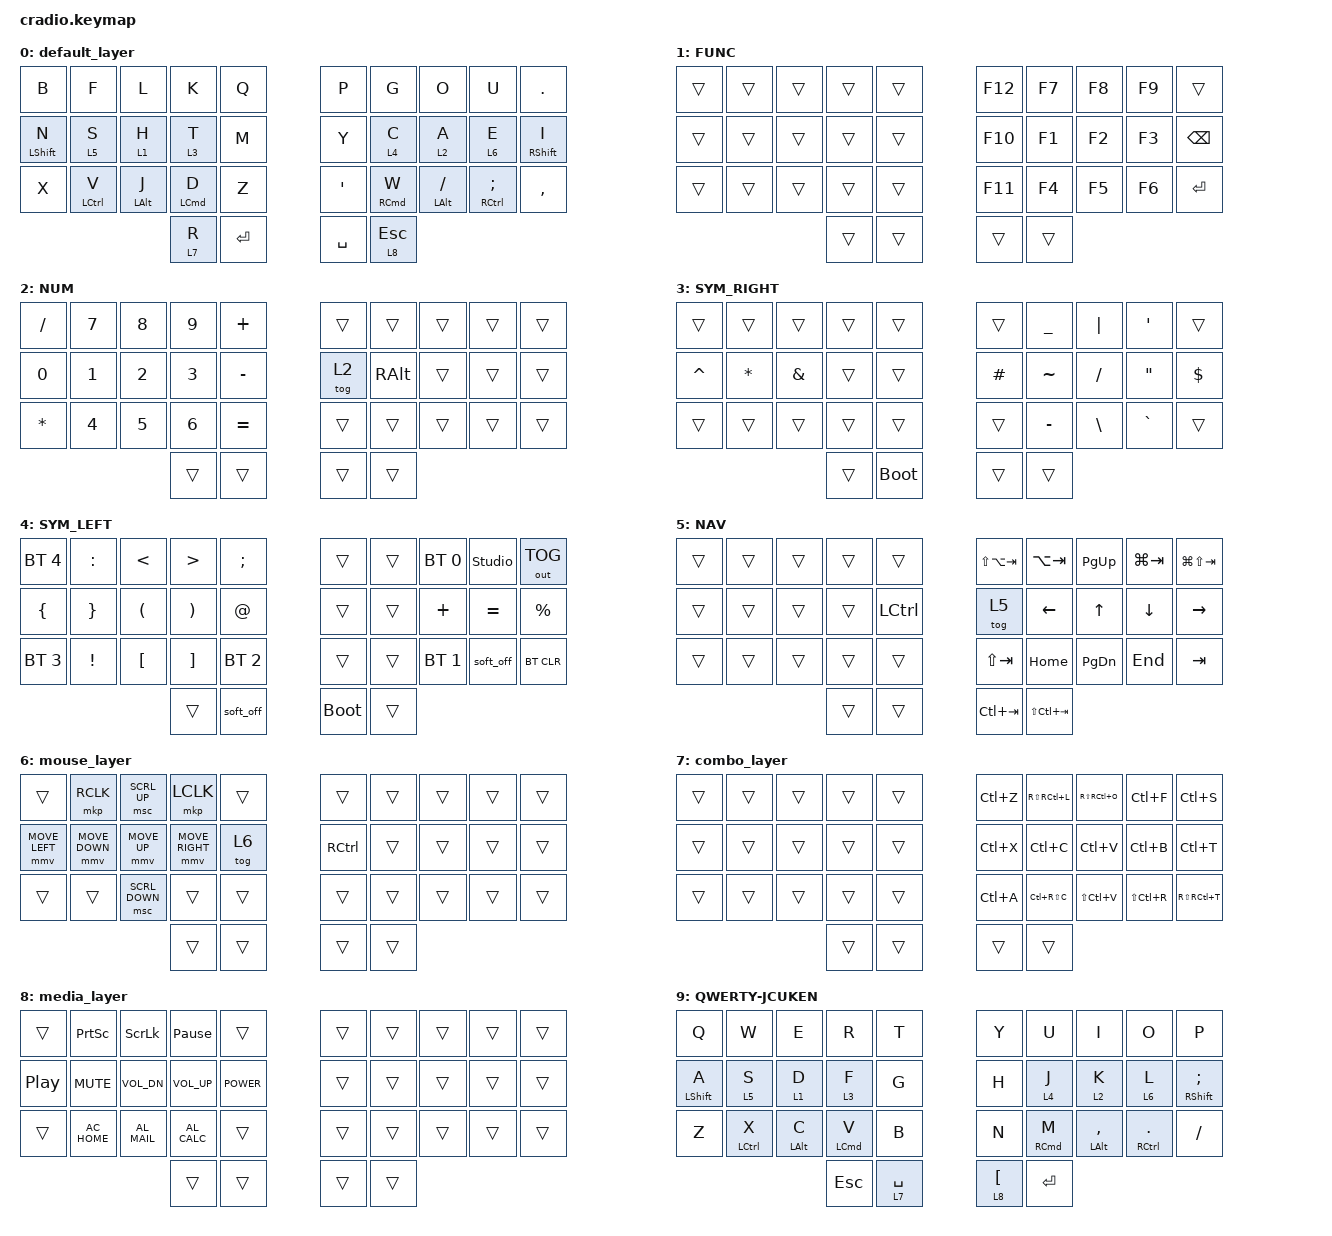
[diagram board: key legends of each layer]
// Copyright (c) 2022 The ZMK Contributors
// SPDX-License-Identifier: MIT

#define ZMK_POINTING_DEFAULT_MOVE_VAL 2500  // 600
#define ZMK_POINTING_DEFAULT_SCRL_VAL 20    // 10

#include <behaviors.dtsi>
#include <dt-bindings/zmk/bt.h>
#include <dt-bindings/zmk/keys.h>
#include <dt-bindings/zmk/outputs.h>
#include <dt-bindings/zmk/pointing.h>

#define MAC 0
#define WIN 1
#define RIG 2
#define LEF 3
#define TRI 4
#define MOUSE 5

// https://zmk.dev/docs/development/hardware-integration/soft-off-setup?advanced-methods=wakeup&kscan-type=dkscan

/ {
    keys {
        compatible = "gpio-keys";

        soft_off_gpio_key: soft_off_gpio_key { gpios = <&gpio1 6 (GPIO_ACTIVE_LOW | GPIO_PULL_UP)>; };
    };

    wakeup_scan: wakeup_scan {
        compatible = "zmk,kscan-gpio-direct";
        input-keys = <&soft_off_gpio_key>;
        wakeup-source;
    };

    side_band_behavior_triggers: side_band_behavior_triggers {
        compatible = "zmk,kscan-sideband-behaviors";
        kscan = <&wakeup_scan>;
        auto-enable;
        wakeup-source;
    };

    soft_off_wakers {
        compatible = "zmk,soft-off-wakeup-sources";
        wakeup-sources = <&wakeup_scan>;
    };
};

/ {
    behaviors {
        ht: hold_tap {
            label = "hold_tap";
            compatible = "zmk,behavior-hold-tap";
            #binding-cells = <2>;
            flavor = "balanced";
            tapping-term-ms = <800>;
            quick-tap-ms = <150>;
            global-quick-tap;
            bindings = <&kp>, <&kp>;
        };

        mmv {
            acceleration-exponent = <1>;      // 1
            time-to-max-speed-ms = <300>;    // 40
            delay-ms = <0>;                   // 0
        };

        msc {
            acceleration-exponent = <0>;      // 0
            time-to-max-speed-ms = <40>;      // 500
            delay-ms = <0>;                   // 10
        };
    };

    conditional_layers { compatible = "zmk,conditional-layers"; };

    combos {
        compatible = "zmk,combos";

        tab {
            bindings = <&kp TAB>;
            key-positions = <12 11 10>;
        };

        delete {
            bindings = <&kp DELETE>;
            key-positions = <1 2>;
        };

        backspace {
            bindings = <&kp BACKSPACE>;
            key-positions = <7 8>;
        };

        caps_word {
            bindings = <&caps_word>;
            key-positions = <20 21 22>;
        };

        f1-combo {
            bindings = <&kp F1>;
            key-positions = <11 13 12>;
        };

        f2-combo {
            bindings = <&kp F2>;
            key-positions = <1 2 3>;
        };

        f3-combo {
            bindings = <&kp F3>;
            key-positions = <22 21 23>;
        };

        f13-combo {
            bindings = <&kp F13>;
            key-positions = <16 17 18>;
        };

        f14-combo {
            bindings = <&kp F14>;
            key-positions = <6 7 8>;
        };

        f15-combo {
            bindings = <&kp F15>;
            key-positions = <26 27 28>;
        };

        printscreen {
            bindings = <&kp PRINTSCREEN>;
            key-positions = <30 33>;
        };

        jcuken {
            bindings = <&tog 9>;
            key-positions = <31 32>;
        };
    };

    keymap {
        compatible = "zmk,keymap";

        default_layer {
            bindings = <
&kp B             &kp F               &kp L           &kp K               &kp Q        &kp P             &kp G         &kp O               &kp U                        &kp PERIOD
&mt LEFT_SHIFT N  &lt 5 S             &lt 1 H         &lt 3 T             &kp M        &kp Y             &lt 4 C       &lt 2 A             &lt 6 E                      &mt RIGHT_SHIFT I
&kp X             &mt LEFT_CONTROL V  &mt LEFT_ALT J  &mt LEFT_COMMAND D  &kp Z        &kp SINGLE_QUOTE  &mt RCMD W    &mt LEFT_ALT SLASH  &mt RIGHT_CONTROL SEMICOLON  &kp COMMA
                                                      &lt 7 R             &kp ENTER    &kp SPACE         &lt 8 ESCAPE
            >;
        };

        func_layer {
            display-name = "FUNC";
            bindings = <
&trans  &trans  &trans  &trans  &trans    &kp F12  &kp F7  &kp F8  &kp F9  &trans
&trans  &trans  &trans  &trans  &trans    &kp F10  &kp F1  &kp F2  &kp F3  &kp BSPC
&trans  &trans  &trans  &trans  &trans    &kp F11  &kp F4  &kp F5  &kp F6  &kp ENTER
                        &trans  &trans    &trans   &trans
            >;
        };

        num_layer {
            display-name = "NUM";
            bindings = <
&kp SLASH     &kp N7        &kp N8        &kp N9        &kp PLUS     &trans  &trans         &trans  &trans  &trans
&kp N0        &kp NUMBER_1  &kp NUMBER_2  &kp NUMBER_3  &kp MINUS    &tog 2  &kp RIGHT_ALT  &trans  &trans  &trans
&kp ASTERISK  &kp NUMBER_4  &kp N5        &kp NUMBER_6  &kp EQUAL    &trans  &trans         &trans  &trans  &trans
                                          &trans        &trans       &trans  &trans
            >;
        };

        right_sym_layer {
            display-name = "SYM_RIGHT";
            bindings = <
&trans     &trans        &trans         &trans  &trans         &trans    &kp UNDERSCORE  &kp PIPE       &kp SINGLE_QUOTE   &trans
&kp CARET  &kp ASTERISK  &kp AMPERSAND  &trans  &trans         &kp HASH  &kp TILDE       &kp SLASH      &kp DOUBLE_QUOTES  &kp DOLLAR
&trans     &trans        &trans         &trans  &trans         &trans    &kp MINUS       &kp BACKSLASH  &kp GRAVE          &trans
                                        &trans  &bootloader    &trans    &trans
            >;
        };

        left_sym_layer {
            display-name = "SYM_LEFT";
            bindings = <
&bt BT_SEL 4    &kp COLON        &kp LESS_THAN         &kp GREATER_THAN       &kp SEMICOLON    &trans       &trans  &bt BT_SEL 0  &studio_unlock  &out OUT_TOG
&kp LEFT_BRACE  &kp RIGHT_BRACE  &kp LEFT_PARENTHESIS  &kp RIGHT_PARENTHESIS  &kp AT_SIGN      &trans       &trans  &kp PLUS      &kp EQUAL       &kp PERCENT
&bt BT_SEL 3    &kp EXCLAMATION  &kp LEFT_BRACKET      &kp RIGHT_BRACKET      &bt BT_SEL 2     &trans       &trans  &bt BT_SEL 1  &soft_off       &bt BT_CLR
                                                       &trans                 &soft_off        &bootloader  &trans
            >;
        };

        nav_layer {
            display-name = "NAV";
            bindings = <
&trans  &trans  &trans  &trans  &trans              &kp LS(LA(TAB))  &kp LA(TAB)      &kp PG_UP      &kp LG(TAB)  &kp LG(LS(TAB))
&trans  &trans  &trans  &trans  &kp LEFT_CONTROL    &tog 5           &kp LEFT         &kp UP         &kp DOWN     &kp RIGHT
&trans  &trans  &trans  &trans  &trans              &kp LS(TAB)      &kp HOME         &kp PAGE_DOWN  &kp END      &kp TAB
                        &trans  &trans              &kp LC(TAB)      &kp LS(LC(TAB))
            >;
        };

        mouse_layer {
            bindings = <
&trans          &mkp RCLK       &msc SCRL_UP    &mkp LCLK        &trans    &trans     &trans  &trans  &trans  &trans
&mmv MOVE_LEFT  &mmv MOVE_DOWN  &mmv MOVE_UP    &mmv MOVE_RIGHT  &tog 6    &kp RCTRL  &trans  &trans  &trans  &trans
&trans          &trans          &msc SCRL_DOWN  &trans           &trans    &trans     &trans  &trans  &trans  &trans
                                                &trans           &trans    &trans     &trans
            >;
        };

        combo_layer {
            bindings = <
&trans  &trans  &trans  &trans  &trans    &kp LC(Z)  &kp RS(RC(L))  &kp RS(RC(O))  &kp LC(F)      &kp LC(S)
&trans  &trans  &trans  &trans  &trans    &kp LC(X)  &kp LC(C)      &kp LC(V)      &kp LC(B)      &kp LC(T)
&trans  &trans  &trans  &trans  &trans    &kp LC(A)  &kp LC(RS(C))  &kp LS(LC(V))  &kp LS(LC(R))  &kp RS(RC(T))
                        &trans  &trans    &trans     &trans
            >;
        };

        media_layer {
            bindings = <
&trans            &kp PRINTSCREEN  &kp SCROLLLOCK  &kp PAUSE_BREAK  &trans         &trans  &trans  &trans  &trans  &trans
&kp C_PLAY_PAUSE  &kp C_MUTE       &kp C_VOL_DN    &kp C_VOL_UP     &kp C_POWER    &trans  &trans  &trans  &trans  &trans
&trans            &kp C_AC_HOME    &kp C_AL_MAIL   &kp C_AL_CALC    &trans         &trans  &trans  &trans  &trans  &trans
                                                   &trans           &trans         &trans  &trans
            >;
        };

        QWERTY-JCUKEN {
            bindings = <
&kp Q             &kp W               &kp E           &kp R               &kp T          &kp Y               &kp U       &kp I               &kp O                     &kp P
&mt LEFT_SHIFT A  &lt 5 S             &lt 1 D         &lt 3 F             &kp G          &kp H               &lt 4 J     &lt 2 K             &lt 6 L                   &mt RIGHT_SHIFT SEMICOLON
&kp Z             &mt LEFT_CONTROL X  &mt LEFT_ALT C  &mt LEFT_COMMAND V  &kp B          &kp N               &mt RCMD M  &mt LEFT_ALT COMMA  &mt RIGHT_CONTROL PERIOD  &kp SLASH
                                                      &kp ESCAPE          &lt 7 SPACE    &lt 8 LEFT_BRACKET  &kp ENTER
            >;
        };
    };
};
